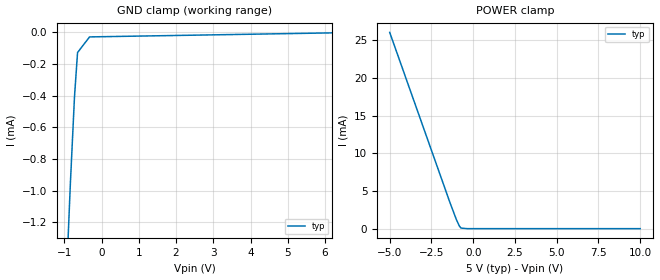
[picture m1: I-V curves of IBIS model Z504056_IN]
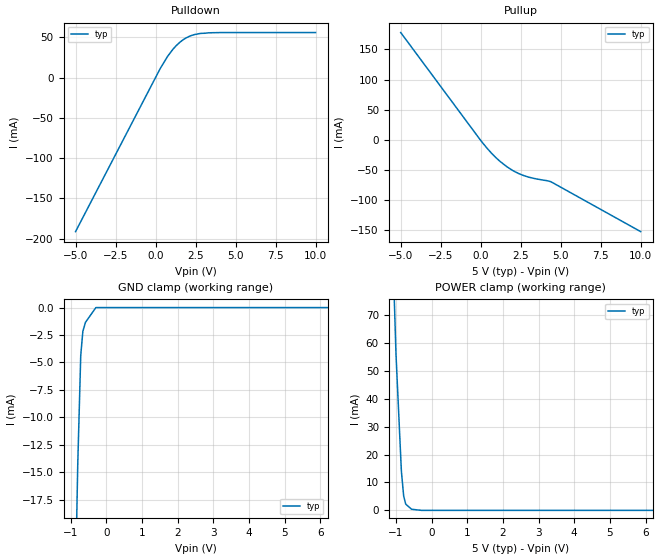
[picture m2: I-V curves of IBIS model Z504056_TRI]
| YOU ARE ONLY AUTHORIZED TO USE THIS SOFTWARE
| ACCORDING TO LICENSOR'S LICENSE RESTRICTIONS.
[IBIS Ver] 3.1
[File Name] mc54hc125aj.ibs
[File Rev] 2.0
[Source] Measured and created by ICX Technology
[Date] Friday 7/14/00 9:08:06 AM
[Copyright]
| (C) COPYRIGHT 1993-2000
| MENTOR GRAPHICS CORPORATION
| ICX STANDARD LIBRARY, ICX PROJECT MODELING,
| ICX CUSTOM MODELING, ICX VENDOR MODEL
| ALL RIGHTS RESERVED.
| THE FOLLOWING ARE TRADEMARKS OR SERVICE MARKS OF
| MENTOR GRAPHICS CORPORATION:ICX (R), ICX STANDARD
| LIBRARY(R), ICX PROJECT MODELING(R), ICX CUSTOM
| MODELING(R), qualityIBIS(TM), MODELVIEWER(TM),
| AND MODELEDITOR(TM)
| ALL COPIES OF SOFTWARE, INCLUDING BUT NOT LIMITED TO
| ANY MODIFICATIONS, ENHANCEMENTS OR DERIVATIVE WORKS,
| MUST CONTAIN ALL MENTOR GRAPHICS CORPORATION'S
| NOTICES AND LEGENDS, INCLUDING THOSE EMBEDDED IN
| SOFTWARE AND THOSE AFFIXED TO SOFTWARE MEDIUM
| AND CONTAINER, AS RECEIVED FROM MENTOR GRAPHICS
| CORPORATION.
|  ZAP Model Builder 2.7
[Component] MC54HC125AJ
[Manufacturer] OnSemiconductor
[Package]
| variable   typ   min   max
R_pkg  .21ohms NA NA
L_pkg  4.543nH NA NA
C_pkg  1.8pF NA NA
[Pin] signal_name  model_name  R_pin  L_pin C_pin
1 _G Z504056_IN .22 6.757n 2.434p
2 A Z504056_IN .212 4.757n 1.941p
3 Y Z504056_TRI .204 3.257n 1.448p
4 _G Z504056_IN .196 2.257n .955p
5 A Z504056_IN .204 3.257n 1.448p
6 Y Z504056_TRI .212 4.757n 1.941p
7 GROUND GND .22 6.757n 2.434p
8 Y Z504056_TRI .22 6.757n 2.434p
9 A Z504056_IN .212 4.757n 1.941p
10 _G Z504056_IN .204 3.257n 1.448p
11 Y Z504056_TRI .196 2.257n .955p
12 A Z504056_IN .204 3.257n 1.448p
13 _G Z504056_IN .212 4.757n 1.941p
14 VCC POWER .22 6.757n 2.434p
| Models and submodels in the file (2): Z504056_IN (Input), Z504056_TRI (3-state)
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| (C) COPYRIGHT 1993-2000
| MENTOR GRAPHICS CORPORATION
| ICX STANDARD LIBRARY, ICX PROJECT MODELING,
| ICX CUSTOM MODELING, ICX VENDOR MODEL
| ALL RIGHTS RESERVED.
| THE FOLLOWING ARE TRADEMARKS OR SERVICE MARKS OF
| MENTOR GRAPHICS CORPORATION:ICX (R), ICX STANDARD
| LIBRARY(R), ICX PROJECT MODELING(R), ICX CUSTOM
| MODELING(R), qualityIBIS(TM), MODELVIEWER(TM),
| AND MODELEDITOR(TM)
| ALL COPIES OF SOFTWARE, INCLUDING BUT NOT LIMITED TO
| ANY MODIFICATIONS, ENHANCEMENTS OR DERIVATIVE WORKS,
| MUST CONTAIN ALL MENTOR GRAPHICS CORPORATION'S
| NOTICES AND LEGENDS, INCLUDING THOSE EMBEDDED IN
| SOFTWARE AND THOSE AFFIXED TO SOFTWARE MEDIUM
| AND CONTAINER, AS RECEIVED FROM MENTOR GRAPHICS
| CORPORATION.
| Model Application Version 1.89 2/18/99.
[Model] Z504056_IN
Model_type Input
Vinl = 1.000V
Vinh = 3.500V
C_comp 4.000pF NA NA
| variable typ   min   max
[Voltage Range] 5.000V NA NA
[GND Clamp Reference] 0.000V NA NA
[POWER Clamp Reference] 5.000V NA NA
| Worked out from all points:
|   POWER clamp passes 1 mA (typ) near -0.97 V on its own axis
[GND Clamp]
-5V       -26.19mA   NA         NA
-1.143V   -2.684mA   NA         NA
-839.8mV  -962.7uA   NA         NA
-727.5mV  -406.8uA   NA         NA
-645.5mV  -127.2uA   NA         NA
-322.8mV  -28.39uA   NA         NA
10V       12.04uA    NA         NA
[POWER Clamp]
-5V       26.02mA    NA         NA
-1.396V   3.485mA    NA         NA
-1.001V   1.171mA    NA         NA
-830mV    353.8uA    NA         NA
-730mV    77.35uA    NA         NA
-365mV    0A         NA         NA
10V       0A         NA         NA
| (C) COPYRIGHT 1993-2000
| MENTOR GRAPHICS CORPORATION
| ICX STANDARD LIBRARY, ICX PROJECT MODELING,
| ICX CUSTOM MODELING, ICX VENDOR MODEL
| ALL RIGHTS RESERVED.
| THE FOLLOWING ARE TRADEMARKS OR SERVICE MARKS OF
| MENTOR GRAPHICS CORPORATION:ICX (R), ICX STANDARD
| LIBRARY(R), ICX PROJECT MODELING(R), ICX CUSTOM
| MODELING(R), qualityIBIS(TM), MODELVIEWER(TM),
| AND MODELEDITOR(TM)
| ALL COPIES OF SOFTWARE, INCLUDING BUT NOT LIMITED TO
| ANY MODIFICATIONS, ENHANCEMENTS OR DERIVATIVE WORKS,
| MUST CONTAIN ALL MENTOR GRAPHICS CORPORATION'S
| NOTICES AND LEGENDS, INCLUDING THOSE EMBEDDED IN
| SOFTWARE AND THOSE AFFIXED TO SOFTWARE MEDIUM
| AND CONTAINER, AS RECEIVED FROM MENTOR GRAPHICS
| CORPORATION.
| Model Application Version 1.89 2/18/99.
[Model] Z504056_TRI
Model_type 3-state
Vref=0.000V
Rref=500.0Mohms
Cref=50.00pF
Vmeas=2.500V
C_comp 8.000pF NA NA
| variable typ   min   max
[Voltage Range] 5.000V NA NA
[POWER Clamp Reference] 5.000V NA NA
[Pullup Reference] 5.000V NA NA
[Pulldown Reference] 0.000V NA NA
[GND Clamp Reference] 0.000V NA NA
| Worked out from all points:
|   slope of the pulldown table from 0 to 0.75 V, typ, clamps not added: 28.6 ohm
|   slope of the pullup table from 0 to 0.75 V, typ, clamps not added: 32.4 ohm
|   POWER clamp passes 1 mA (typ) near -0.61 V on its own axis
[GND Clamp]
-5V       -455.2mA   NA         NA
-1.163V   -68.54mA   NA         NA
-1.026V   -51.92mA   NA         NA
-800.7mV  -14.21mA   NA         NA
-717.4mV  -4.348mA   NA         NA
-658.3mV  -2.168mA   NA         NA
-585.6mV  -1.349mA   NA         NA
-292.8mV  0A         NA         NA
10V       0A         NA         NA
[Pulldown]
-5V       -191.2mA   NA         NA
293.4mV   11.25mA    NA         NA
758.5mV   26.49mA    NA         NA
1.104V    35.57mA    NA         NA
1.514V    43.75mA    NA         NA
2.125V    51.35mA    NA         NA
2.823V    54.89mA    NA         NA
4.138V    55.96mA    NA         NA
10V       55.96mA    NA         NA
[Pullup]
-5V       177.8mA    NA         NA
39mV      -2.28mA    NA         NA
658mV     -21.53mA   NA         NA
1.202V    -35.44mA   NA         NA
1.631V    -44.33mA   NA         NA
2.417V    -56.21mA   NA         NA
2.992V    -61.6mA    NA         NA
4.4V      -69.42mA   NA         NA
10V       -151.9mA   NA         NA
[POWER Clamp]
-5V       1.968A     NA         NA
-1.224V   150.4mA    NA         NA
-996mV    55.88mA    NA         NA
-845mV    14.05mA    NA         NA
-781mV    5.158mA    NA         NA
-723mV    2.221mA    NA         NA
-557mV    382.5uA    NA         NA
-278.5mV  0A         NA         NA
10V       0A         NA         NA
[Ramp]
| variable typ min max
dV/dt_r 2.842/953.3p NA NA
dV/dt_f 2.842/583.7p NA NA
R_load = 500.0Ohms
